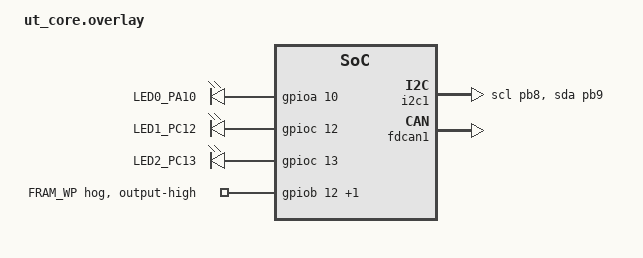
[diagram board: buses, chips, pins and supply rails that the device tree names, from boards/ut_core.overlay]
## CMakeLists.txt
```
# SPDX-License-Identifier: Apache-2.0

cmake_minimum_required(VERSION 3.20.0)
find_package(Zephyr REQUIRED HINTS $ENV{ZEPHYR_BASE})
project(adcsComputeTest)

# ============================================================================
# Build target selection:
#   -DAIR_BEARING=ON   ->  Air Bearing Demo  (airBearingDemo ADCSCore)
#   -DAIR_BEARING=OFF  ->  Orbit Flight SW   (forOrbit ADCSCore)  [default]
# ============================================================================
option(AIR_BEARING "Build for air bearing demo instead of orbit" OFF)
option(CAL_EMIT "Emit raw IMU/GYR/MAG CSV for AirBearingCalibration.m capture" OFF)

if(CAL_EMIT)
    message(STATUS ">>> CAL_EMIT enabled: raw CSV stream, telemetry suppressed <<<")
    target_compile_definitions(app PRIVATE CAL_EMIT=1)
endif()

if(AIR_BEARING)
    message(STATUS ">>> Building: Air Bearing Demo <<<")
    set(ADCS_DIR ${CMAKE_CURRENT_SOURCE_DIR}/airBearingDemo/ADCSCore/components)

    target_sources(app PRIVATE
        src/mainAirBearing.cpp
        ${ADCS_DIR}/ADCSCore.cpp
        ${ADCS_DIR}/core_Observer.cpp
        ${ADCS_DIR}/core_ControllerManager.cpp
        ${ADCS_DIR}/core_ControllerNDI.cpp
        ${ADCS_DIR}/core_ControllerBDot.cpp
        ${ADCS_DIR}/core_HelperFunctions.cpp
    )
else()
    message(STATUS ">>> Building: Orbit Flight SW <<<")
    set(ADCS_DIR ${CMAKE_CURRENT_SOURCE_DIR}/forOrbit/ADCSCore/components)

    target_sources(app PRIVATE
        src/mainOrbit.cpp
        ${ADCS_DIR}/ADCSCore.cpp
        ${ADCS_DIR}/core_Observer.cpp
        ${ADCS_DIR}/core_ControllerManager.cpp
        ${ADCS_DIR}/core_ControllerNDI.cpp
        ${ADCS_DIR}/core_ControllerBDot.cpp
        ${ADCS_DIR}/core_ReferenceGenerator.cpp
        ${ADCS_DIR}/core_HelperFunctions.cpp
    )
endif()

target_include_directories(app PRIVATE ${ADCS_DIR})
```

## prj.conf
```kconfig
# --- PERIPHERALS ---
CONFIG_GPIO=y
CONFIG_I2C=y
CONFIG_CAN=y
CONFIG_CAN_STM32_FDCAN=y
CONFIG_CAN_FD_MODE=n

# --- CONSOLE (UART) ---
CONFIG_CONSOLE=y
CONFIG_STDOUT_CONSOLE=y
CONFIG_UART_CONSOLE=y
CONFIG_SERIAL=y

# --- RTT (disabled) ---
CONFIG_USE_SEGGER_RTT=n
CONFIG_RTT_CONSOLE=n

# --- PRINTK / LOGGING ---
CONFIG_PRINTK=y
CONFIG_LOG=n
CONFIG_LOG_BACKEND_RTT=n
CONFIG_LOG_BACKEND_UART=y
CONFIG_LOG_MODE_IMMEDIATE=y

# --- SEMIHOSTING (disabled) ---
CONFIG_SEMIHOST=n
CONFIG_SEMIHOST_CONSOLE=n

# --- POWER MANAGEMENT (disabled) ---
CONFIG_PM=n
CONFIG_PM_DEVICE=n
CONFIG_PM_DEVICE_RUNTIME=n
CONFIG_TICKLESS_KERNEL=n

# --- C++ SUPPORT ---
CONFIG_CPP=y
CONFIG_STD_CPP17=y
CONFIG_REQUIRES_FULL_LIBCPP=y
CONFIG_GLIBCXX_LIBCPP=y
CONFIG_NEWLIB_LIBC=y

# --- FLOAT PRINTING (for ADCS output) ---
CONFIG_CBPRINTF_FP_SUPPORT=y

# --- STACK (ADCS core needs large stack for matrix ops / WMM) ---
CONFIG_MAIN_STACK_SIZE=16384
CONFIG_SYSTEM_WORKQUEUE_STACK_SIZE=8192
CONFIG_HEAP_MEM_POOL_SIZE=0
```

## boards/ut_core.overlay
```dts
/ {
	pins {
		compatible = "gpio-leds";

		led0: led_0 {
			gpios = <&gpioa 10 GPIO_ACTIVE_HIGH>;
			label = "LED0_PA10";
		};

		led1: led_1 {
			gpios = <&gpioc 12 GPIO_ACTIVE_HIGH>;
			label = "LED1_PC12";
		};

		led2: led_2 {
			gpios = <&gpioc 13 GPIO_ACTIVE_HIGH>;
			label = "LED2_PC13";
		};
	};

	chosen {
		zephyr,console = &lpuart1;
	};
};

/* Release PB9 from FRAM WP gpio-hog so it can be used as I2C1 SDA */
&gpiob {
	/delete-node/ fram_wp_hog;

	fram_wp_hog_no_pb9 {
		gpio-hog;
		gpios = <12 GPIO_ACTIVE_HIGH>,
			<5 GPIO_ACTIVE_HIGH>;
		output-high;
		line-name = "FRAM_WP";
	};
};

/* Remap I2C1 from PB6/PB7 (board default) to PB8 (SCL) / PB9 (SDA) */
&pinctrl {
	i2c1_scl_pb8: i2c1_scl_pb8 {
		pinmux = <STM32_PINMUX('B', 8, AF4)>;
		drive-open-drain;
	};

	i2c1_sda_pb9: i2c1_sda_pb9 {
		pinmux = <STM32_PINMUX('B', 9, AF4)>;
		drive-open-drain;
	};
};

/* PB8 is SPI2 CS1 in board DTS — disable SPI2 so it can't claim the pin */
&spi2 {
	status = "disabled";
};

&i2c1 {
	pinctrl-0 = <&i2c1_scl_pb8 &i2c1_sda_pb9>;
	pinctrl-names = "default";
};

&fdcan1 {
	status = "okay";
};
```

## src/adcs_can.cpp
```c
#include "adcs_can.hpp"

extern "C" {
#include "can_wheel.h"
}

#include <zephyr/kernel.h>
#include <zephyr/device.h>
#include <zephyr/drivers/can.h>
#include <zephyr/sys/atomic.h>
#include <zephyr/sys/printk.h>

#include <cmath>
#include <string.h>

namespace {

constexpr int  CAN_RX_STACK_SIZE = 2048;
constexpr int  CAN_RX_THREAD_PRIO = 1;
constexpr int  CAN_RX_MSGQ_DEPTH = 4;
constexpr float RPM_TO_RAD_PER_S = (2.0f * 3.14159265358979323846f) / 60.0f;

const struct device *const g_can_dev = DEVICE_DT_GET(DT_NODELABEL(fdcan1));

CAN_MSGQ_DEFINE(wheel_tlm_q, CAN_RX_MSGQ_DEPTH);

K_THREAD_STACK_DEFINE(can_rx_stack, CAN_RX_STACK_SIZE);
struct k_thread can_rx_thread_data;

/*
 * RX state published to the ADCS loop. Updated from can_rx_thread,
 * read from the adcs compute thread. Per-element scalar writes; the
 * atomic age stamp is the freshness handshake.
 */
struct k_spinlock rx_lock;
float  latest_omega_rad_s[4] = {0.f, 0.f, 0.f, 0.f};
atomic_t last_rx_uptime_ms = ATOMIC_INIT(0);
bool     ever_received = false;

atomic_t tx_count = ATOMIC_INIT(0);
atomic_t rx_count = ATOMIC_INIT(0);

void can_rx_thread_entry(void *, void *, void *)
{
	struct can_frame rx;

	while (1) {
		if (k_msgq_get(&wheel_tlm_q, &rx, K_FOREVER) != 0) {
			continue;
		}

		if (rx.dlc != 8) {
			continue; /* malformed; drop */
		}

		struct wheel_rpm_frame f;
		memcpy(&f, rx.data, sizeof(f));

		float rpm[4];
		wheel_rpm_unpack(&f, rpm);

		k_spinlock_key_t key = k_spin_lock(&rx_lock);
		for (int i = 0; i < 4; i++) {
			latest_omega_rad_s[i] = rpm[i] * RPM_TO_RAD_PER_S;
		}
		ever_received = true;
		k_spin_unlock(&rx_lock, key);

		atomic_set(&last_rx_uptime_ms, (atomic_val_t)k_uptime_get());
		atomic_inc(&rx_count);
	}
}

} // namespace

int adcs_can_init(void)
{
	if (!device_is_ready(g_can_dev)) {
		printk("[CAN] fdcan1 not ready\n");
		return -ENODEV;
	}

	int ret = can_set_bitrate(g_can_dev, 500000);
	if (ret != 0) {
		printk("[CAN] set_bitrate err %d\n", ret);
		return ret;
	}

	ret = can_set_mode(g_can_dev, CAN_MODE_NORMAL);
	if (ret != 0) {
		printk("[CAN] set_mode err %d\n", ret);
		return ret;
	}

	ret = can_start(g_can_dev);
	if (ret != 0) {
		printk("[CAN] start err %d\n", ret);
		return ret;
	}

	/*
	 * Match only the motor board's wheel-telemetry frame: exact 29-bit ID
	 * including SRC=MOTOR_ID, DST=ADCS_ID, CLS=CLS_WHEEL_TLM.
	 */
	const struct can_filter filt = {
		.id    = WHEEL_TLM_ID,
		.mask  = WHEEL_ID_MASK_29,
		.flags = CAN_FILTER_IDE,
	};

	ret = can_add_rx_filter_msgq(g_can_dev, &wheel_tlm_q, &filt);
	if (ret < 0) {
		printk("[CAN] add_rx_filter err %d\n", ret);
		return ret;
	}

	k_thread_create(&can_rx_thread_data, can_rx_stack,
			K_THREAD_STACK_SIZEOF(can_rx_stack),
			can_rx_thread_entry, NULL, NULL, NULL,
			CAN_RX_THREAD_PRIO, 0, K_NO_WAIT);
	k_thread_name_set(&can_rx_thread_data, "adcs_can_rx");

	printk("[CAN] fdcan1 up @ 500 kbit/s, wheel_tlm filter id=0x%08X mask=0x%08X\n",
	       (unsigned)filt.id, (unsigned)filt.mask);
	return 0;
}

int adcs_can_send_wheel_rpm(const float rpm_ref[4])
{
	if (!device_is_ready(g_can_dev)) {
		return -ENODEV;
	}

	struct wheel_rpm_frame f;
	wheel_rpm_pack(rpm_ref, &f);

	struct can_frame tx = {};
	tx.id    = WHEEL_CMD_ID;
	tx.dlc   = 8;
	tx.flags = CAN_FRAME_IDE;
	memcpy(tx.data, &f, sizeof(f));

	int ret = can_send(g_can_dev, &tx, K_NO_WAIT, NULL, NULL);
	if (ret == 0) {
		atomic_inc(&tx_count);
	}
	return ret;
}

bool adcs_can_get_wheel_speeds(Math::Vec<4>& out, int64_t max_age_ms)
{
	int64_t rx_ts = (int64_t)atomic_get(&last_rx_uptime_ms);
	int64_t age = k_uptime_get() - rx_ts;

	k_spinlock_key_t key = k_spin_lock(&rx_lock);
	bool have_sample = ever_received;
	for (int i = 0; i < 4; i++) {
		out(i) = static_cast<Math::Real>(
			have_sample ? latest_omega_rad_s[i] : 0.f);
	}
	k_spin_unlock(&rx_lock, key);

	return have_sample && (age <= max_age_ms);
}

int64_t adcs_can_last_rx_age_ms(void)
{
	int64_t rx_ts = (int64_t)atomic_get(&last_rx_uptime_ms);
	return k_uptime_get() - rx_ts;
}

uint32_t adcs_can_tx_count(void) { return (uint32_t)atomic_get(&tx_count); }
uint32_t adcs_can_rx_count(void) { return (uint32_t)atomic_get(&rx_count); }
```

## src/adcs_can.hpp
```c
#ifndef ADCS_CAN_HPP
#define ADCS_CAN_HPP

/*
 * ADCS-side CAN layer.
 *
 * - Init FDCAN1 (500 kbit/s, classical CAN, 29-bit IDs).
 * - TX: one wheel-cmd frame per ADCS tick with 4 x int16 RPM setpoints.
 * - RX: dedicated msgq + background thread that decodes wheel telemetry
 *   from the motor board and publishes the latest measured omega to
 *   shared state consumable from the ADCS loop.
 *
 * All RPM values are signed mechanical RPM at the wheel rotor.
 */

#include "core_Math.hpp"
#include <stdint.h>

int  adcs_can_init(void);

int  adcs_can_send_wheel_rpm(const float rpm_ref[4]);

/*
 * Copy the most-recent wheel speed telemetry into out[] (rad/s).
 * Returns true if the latest sample is younger than max_age_ms;
 * otherwise out[] is filled with the last valid sample (zeros if none).
 */
bool adcs_can_get_wheel_speeds(Math::Vec<4>& out, int64_t max_age_ms);

int64_t adcs_can_last_rx_age_ms(void);
uint32_t adcs_can_tx_count(void);
uint32_t adcs_can_rx_count(void);

#endif // ADCS_CAN_HPP
```

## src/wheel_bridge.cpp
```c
#include "wheel_bridge.hpp"

#include "core_Parameters.hpp"

#include <algorithm>
#include <cmath>

namespace ADCS {

namespace {

constexpr float RAD_PER_S_TO_RPM = 60.0f / (2.0f * static_cast<float>(Param::PI));

/*
 * Saturate at whichever cap is tighter: the control-law speed limit
 * (Param::omega_w_max) or the motor-board hardware RPM cap expressed in
 * rad/s. Converting WHEEL_RPM_LIMIT here avoids a build-time dependency
 * on can_wheel.h from this TU.
 */
constexpr float WHEEL_RPM_HW_CAP = 10000.0f;
constexpr float OMEGA_HW_CAP_RAD_S =
	WHEEL_RPM_HW_CAP * (2.0f * static_cast<float>(Param::PI)) / 60.0f;

inline float clampf(float x, float lo, float hi)
{
	return std::max(lo, std::min(hi, x));
}

} // namespace

void wheel_bridge_step(const Math::Vec<4>& tau_cmd_Nm,
		       const Math::Vec<4>& omega_meas_rad_s,
		       float dt_s,
		       float rpm_ref_out[4])
{
	const float tau_max   = static_cast<float>(Param::Actuators::tau_w_max);
	const float omega_cap = std::min(
		static_cast<float>(Param::Actuators::omega_w_max),
		OMEGA_HW_CAP_RAD_S);

	/* dt<=0 degenerates to pure hold-at-measured; harmless but defensive. */
	const float dt = (dt_s > 0.f && std::isfinite(dt_s)) ? dt_s : 0.f;
	const float inv_Jw = 1.0f / static_cast<float>(Param::Actuators::I_wheel);

	for (int i = 0; i < 4; i++) {
		float tau = clampf(static_cast<float>(tau_cmd_Nm(i)), -tau_max, tau_max);
		float omega = static_cast<float>(omega_meas_rad_s(i));
		float omega_next = clampf(omega + dt * inv_Jw * tau,
					  -omega_cap, omega_cap);

		rpm_ref_out[i] = omega_next * RAD_PER_S_TO_RPM;
	}
}

} // namespace ADCS
```

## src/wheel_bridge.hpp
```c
#ifndef WHEEL_BRIDGE_HPP
#define WHEEL_BRIDGE_HPP

/*
 * Torque -> Reference-RPM bridge for the app layer.
 *
 * ADCSCore produces per-wheel torque commands in N*m. The motor driver
 * board expects per-wheel RPM setpoints over CAN (its PI speed loop
 * consumes those). This bridge converts between the two once per ADCS
 * tick, without leaking speed-space bookkeeping into the ADCS core.
 *
 * Math (per wheel, each tick):
 *   tau_sat   = clamp(tau_cmd, -tau_max, +tau_max)
 *   omega_ref = clamp(omega_meas + (dt / J_w) * tau_sat,
 *                     -omega_cap, +omega_cap)
 *   rpm_ref   = omega_ref * 60 / (2*pi)
 *
 * omega_meas comes from the motor board's latest telemetry. The saturation
 * cap is the min of ADCS Param::omega_w_max and the motor board's CAN
 * limit (WHEEL_RPM_LIMIT) so ADCS never accumulates commands the motor
 * side will clip away.
 */

#include "ADCSCore.hpp"

namespace ADCS {

void wheel_bridge_step(const Math::Vec<4>& tau_cmd_Nm,
		       const Math::Vec<4>& omega_meas_rad_s,
		       float dt_s,
		       float rpm_ref_out[4]);

} // namespace ADCS

#endif // WHEEL_BRIDGE_HPP
```
